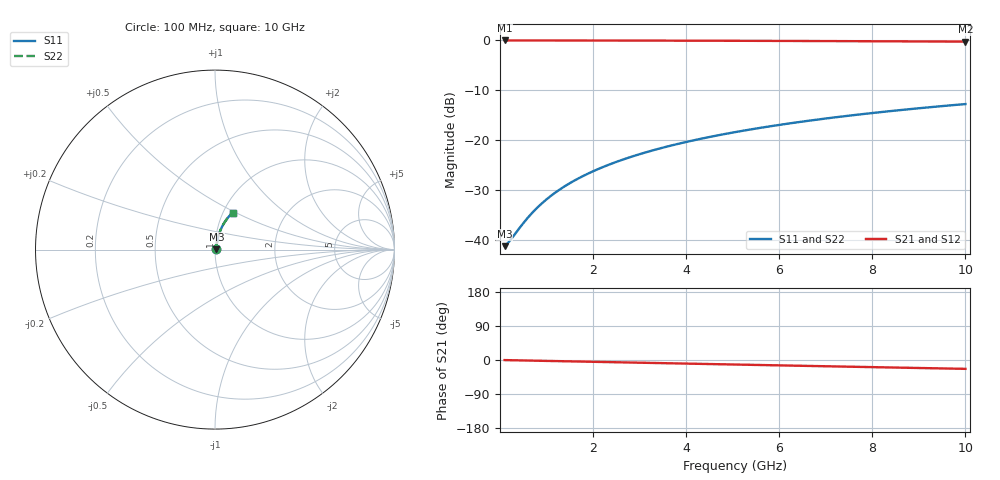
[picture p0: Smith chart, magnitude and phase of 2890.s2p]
# Hz S RI R 50.00
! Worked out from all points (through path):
!   100 points, 100 MHz to 10 GHz, reference 50 ohm
!   highest |S21| = -0.07 dB at 100 MHz (marker M1); lowest = -0.3 dB at 10 GHz (marker M2)
!   group delay of S21, straight-line fit = 6.5 ps
!   lowest |S11| = -41.3 dB at 100 MHz (marker M3), VSWR 1.02, Z = 50.8 + j0.24 ohm
!   |S11| at or under -10 dB: start of sweep to end of sweep
!   |S22| runs from -41.3 to -12.8 dB; largest |S21 - S12| = 0
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1e8  0.0083 0.00236  0.9917 -0.00411  0.9917 -0.00411  0.0083 0.00236
2e8  0.00838 0.00472  0.9916 -0.00823  0.9916 -0.00823  0.00838 0.00472
5e8  0.00869 0.0118  0.9913 -0.0206  0.9913 -0.0206  0.00869 0.0118
6e8  0.00882 0.0141  0.9911 -0.0247  0.9911 -0.0247  0.00882 0.0141
7e8  0.00897 0.0165  0.9909 -0.0288  0.9909 -0.0288  0.00897 0.0165
9e8  0.00932 0.0212  0.9905 -0.037  0.9905 -0.037  0.00932 0.0212
1.1e9  0.00974 0.0259  0.9901 -0.0452  0.9901 -0.0452  0.00974 0.0259
1.3e9  0.0102 0.0306  0.9895 -0.0534  0.9895 -0.0534  0.0102 0.0306
1.5e9  0.0108 0.0352  0.9888 -0.0616  0.9888 -0.0616  0.0108 0.0352
1.8e9  0.0118 0.0422  0.9877 -0.0738  0.9877 -0.0738  0.0118 0.0422
2.1e9  0.013 0.0492  0.9863 -0.0861  0.9863 -0.0861  0.013 0.0492
2.5e9  0.0148 0.0584  0.9842 -0.1023  0.9842 -0.1023  0.0148 0.0584
2.9e9  0.0169 0.0675  0.9817 -0.1185  0.9817 -0.1185  0.0169 0.0675
3.4e9  0.02 0.0788  0.9782 -0.1386  0.9782 -0.1386  0.02 0.0788
3.8e9  0.0228 0.0878  0.9749 -0.1546  0.9749 -0.1546  0.0228 0.0878
4.2e9  0.0258 0.0966  0.9713 -0.1704  0.9713 -0.1704  0.0258 0.0966
5.1e9  0.0338 0.116  0.9621 -0.2057  0.9621 -0.2057  0.0338 0.116
5.9e9  0.042 0.1326  0.9525 -0.2364  0.9525 -0.2364  0.042 0.1326
6.7e9  0.0512 0.1486  0.9417 -0.2665  0.9417 -0.2665  0.0512 0.1486
7.5e9  0.0614 0.1639  0.9297 -0.2959  0.9297 -0.2959  0.0614 0.1639
8.4e9  0.0739 0.1801  0.9149 -0.3281  0.9149 -0.3281  0.0739 0.1801
1e10  0.0987 0.2063  0.8854 -0.3827  0.8854 -0.3827  0.0987 0.2063
